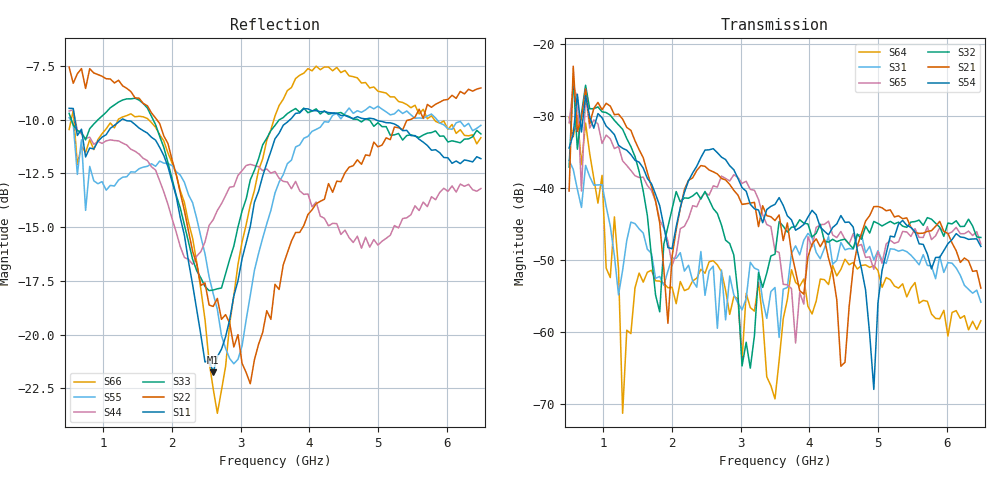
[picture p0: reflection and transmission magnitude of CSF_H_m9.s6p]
!Keysight Technologies,M9804A,MY58100912,A.14.10.03
!Date: Thursday, April 27, 2023 10:28:33
!Correction: S11(C  6-Port  )
!S12(C  6-Port  )
!S13(C  6-Port  )
!S14(C  6-Port  )
!S15(C  6-Port  )
!S16(C  6-Port  )
!S21(C  6-Port  )
!S22(C  6-Port  )
!S23(C  6-Port  )
!S24(C  6-Port  )
!S25(C  6-Port  )
!S26(C  6-Port  )
!S31(C  6-Port  )
!S32(C  6-Port  )
!S33(C  6-Port  )
!S34(C  6-Port  )
!S35(C  6-Port  )
!S36(C  6-Port  )
!S41(C  6-Port  )
!S42(C  6-Port  )
!S43(C  6-Port  )
!S44(C  6-Port  )
!S45(C  6-Port  )
!S46(C  6-Port  )
!S51(C  6-Port  )
!S52(C  6-Port  )
!S53(C  6-Port  )
!S54(C  6-Port  )
!S55(C  6-Port  )
!S56(C  6-Port  )
!S61(C  6-Port  )
!S62(C  6-Port  )
!S63(C  6-Port  )
!S64(C  6-Port  )
!S65(C  6-Port  )
!S66(C  6-Port  )
!S6P File: Measurement: :
# Hz S  RI  R 50
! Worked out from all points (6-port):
!   101 points, 500 MHz to 6.5 GHz, reference 50 ohm
!   strongest paths, dB at 500 MHz, 2 GHz, 3.5 GHz, 5 GHz, 6.5 GHz:
!     S54: -34.5, -48.4, -42.3, -56.0, -48.1
!     S21: -40.4, -49.5, -44.5, -42.6, -53.9
!     S32: -37.1, -42.9, -49.2, -44.9, -46.9
!     S65: -30.9, -50.7, -48.7, -48.8, -47.8
!     S31: -36.2, -49.8, -53.8, -48.7, -55.9
!     S64: -30.2, -53.8, -69.3, -51.4, -58.4
!   lowest |S11| = -21.7 dB at 2.6 GHz (marker M1), VSWR 1.18, Z = 42.7 + j1.93 ohm
!   |S11| at or under -10 dB: 584.5 MHz to 1.268 GHz (683.5 MHz wide, 73.8 % of centre); 1.3 GHz to 3.721 GHz (2.421 GHz wide, 96.4 % of centre); 4.961 GHz to end of sweep
